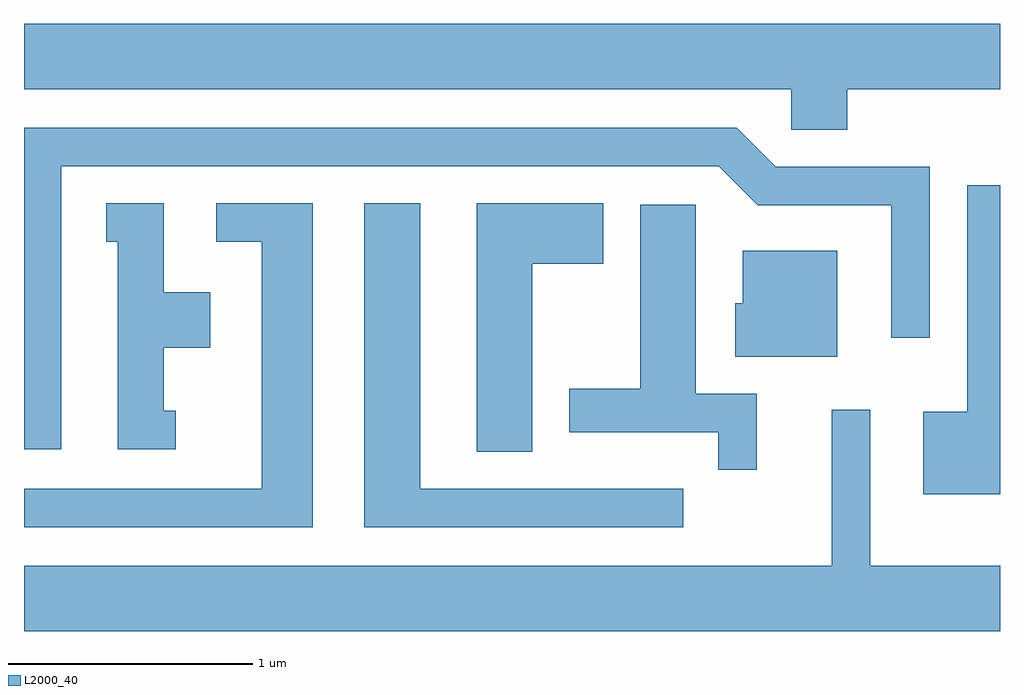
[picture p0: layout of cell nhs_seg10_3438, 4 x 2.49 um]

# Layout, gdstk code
import gdstk
lib = gdstk.Library(unit=1e-6, precision=1e-09)
def P(c, l, *ps):  # polygons
    for p in ps: c.add(gdstk.Polygon(p, *l))
L2000_40 = (2000, 40)

nhs_seg10_3438 = lib.new_cell('nhs_seg10_3438')
P(nhs_seg10_3438, L2000_40, [(288.984,2189.396),(289.611,2189.396),(289.611,2189.664),(285.611,2189.664),(285.611,2189.396),(288.756,2189.396),(288.756,2189.231),(288.984,2189.231)],
  [(285.764,2189.081),(288.459,2189.081),(288.619,2188.921),(289.166,2188.921),(289.166,2188.378),(289.324,2188.378),(289.324,2189.079),(288.692,2189.079),(288.532,2189.239),(285.611,2189.239),(285.611,2187.921),(285.764,2187.921)],
  [(289.611,2189.003),(289.476,2189.003),(289.476,2188.074),(289.296,2188.074),(289.296,2187.736),(289.611,2187.736)],
  [(286.233,2188.079),(286.184,2188.079),(286.184,2188.336),(286.374,2188.336),(286.374,2188.564),(286.184,2188.564),(286.184,2188.929),(285.948,2188.929),(285.948,2188.771),(285.996,2188.771),(285.996,2187.921),(286.233,2187.921)],
  [(287.694,2188.681),(287.984,2188.681),(287.984,2188.929),(287.466,2188.929),(287.466,2187.911),(287.694,2187.911)],
  [(288.313,2187.759),(287.234,2187.759),(287.234,2188.929),(287.006,2188.929),(287.006,2187.601),(288.313,2187.601)],
  [(286.794,2188.929),(286.398,2188.929),(286.398,2188.771),(286.586,2188.771),(286.586,2187.759),(285.611,2187.759),(285.611,2187.601),(286.794,2187.601)],
  [(288.614,2188.149),(288.364,2188.149),(288.364,2188.924),(288.136,2188.924),(288.136,2188.169),(287.846,2188.169),(287.846,2187.991),(288.456,2187.991),(288.456,2187.838),(288.614,2187.838)],
  [(288.944,2188.734),(288.556,2188.734),(288.556,2188.519),(288.526,2188.519),(288.526,2188.301),(288.944,2188.301)],
  [(289.611,2187.444),(289.079,2187.444),(289.079,2188.083),(288.921,2188.083),(288.921,2187.444),(285.611,2187.444),(285.611,2187.176),(289.611,2187.176)])

lib.write_gds('nhs_seg10_3438.gds')
